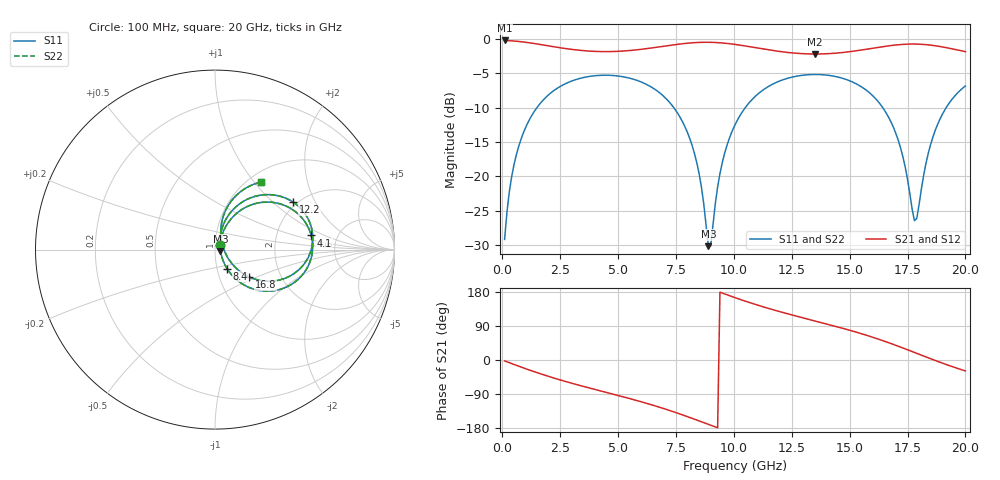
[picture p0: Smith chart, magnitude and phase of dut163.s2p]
! Touchstone file exported from HFSS 2026.1.0
!  File:  C:/ffzhzh/LocalFiles/Ansys_Project_Files/temp_train_TSV_RDL_163_1783054034_45820.aedt
!  Generated:  01:00:16 PM Jul  3, 2026
!  Design:  TSV_RDL
!  Project:  temp_train_TSV_RDL_163_1783054034_45820
! Variables:
!  h_bsmrdl = 5.96um
!  h_ox = 20um
!  h_rdl = 5um
!  h_sub = 99.28um
!  h_tmrdl = 5.51um
!  h_tsv = 99.28um
!  h_via = 3um
!  l_bsmrdl = 519.48um
!  l_sub = 6040.52um
!  l_tmrdl = 995.98um
!  m_sub = 200um
!  pitch = 50.21um
!  r_tsv = 14.55um
!  s_tmrdl = 10um
!  w_bsmrdl = 19.48um
!  w_sub = 500um
!  w_tmrdl = 13.24um
!  x_tsv_center1 = 1002.6um
!  x_tsv_center2 = 1541.56um
!  x_tsv_center3 = 2550.78um
!  x_tsv_center4 = 3089.74um
!  x_tsv_center5 = 4098.96um
!  x_tsv_center6 = 4637.92um
# GHz S MA R 50.000000
! Terminal data exported
! Port[1] = TM_RDL1_1_T1
! Port[2] = TM_RDL5_1_T1
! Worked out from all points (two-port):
!   200 points, 100 MHz to 20 GHz, reference 50 ohm
!   highest |S21| = -0.22 dB at 100 MHz (marker M1); lowest = -2.2 dB at 13.5 GHz (marker M2)
!   |S21| within 3 dB of the highest: start of sweep to end of sweep
!   lowest |S11| = -30.2 dB at 8.9 GHz (marker M3), VSWR 1.06, Z = 53.1 - j0.734 ohm
!   |S11| at or under -10 dB: start of sweep to 1.496 GHz; 7.406 GHz to 10.49 GHz (3.088 GHz wide, 34.5 % of centre); 16.43 GHz to 19.17 GHz (2.742 GHz wide, 15.4 % of centre)
!   |S22| runs from -30.2 to -5.2 dB; largest |S21 - S12| = 2e-14
!   S11 on the Smith chart (normalised r, x): 100 MHz: 1.05, +0.05; 4.1 GHz: 3.19, +0.71; 8.4 GHz: 1.12, -0.24; 12.2 GHz: 1.91, +1.36; 16.8 GHz: 1.39, -0.45; 20 GHz: 1.14, +1.08
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0.1  0.03472 42.6  0.9751 -2.4  0.9751 -2.4  0.03472 42.6
! Gamma 0 0 0 0
! Port Impedance 50 0 50 0
0.5  0.1202 65.3  0.966 -11.6  0.966 -11.6  0.1202 65.3
1.1  0.2447 58.4  0.9414 -25.0  0.9414 -25.0  0.2447 58.4
3.5  0.5234 17.6  0.8223 -69.6  0.8223 -69.6  0.5234 17.6
4.1  0.5417 8.4  0.8107 -79.3  0.8107 -79.3  0.5417 8.4
6.8  0.4047 -34.3  0.8769 -124.8  0.8769 -124.8  0.4047 -34.3
7.8  0.2464 -51.3  0.9242 -145.2  0.9242 -145.2  0.2464 -51.4
8.4  0.1255 -57.6  0.9422 -158.4  0.9422 -158.4  0.1255 -57.7
8.9  0.031 -12.9  0.9459 -169.8  0.9459 -169.8  0.03073 -13.1
9  0.03112 27.5  0.9453 -172.0  0.9453 -172.0  0.03084 27.6
9.5  0.1257 71.6  0.935 176.6  0.935 176.6  0.1257 71.8
10.1  0.2465 65.5  0.9101 163.5  0.9101 163.5  0.2464 65.6
12.2  0.5098 31.1  0.8019 124.0  0.8019 124.0  0.5098 31.2
13.4  0.551 13.3  0.7773 104.7  0.7773 104.7  0.5509 13.3
13.5  0.5513 11.8  0.7771 103.1  0.7771 103.1  0.5513 11.9
15.4  0.4602 -16.9  0.8254 71.5  0.8254 71.5  0.4601 -16.8
16.7  0.2659 -37.4  0.8918 45.4  0.8918 45.4  0.2659 -37.2
16.8  0.246 -38.6  0.8962 43.2  0.8962 43.2  0.2461 -38.5
17.3  0.139 -40.9  0.913 31.8  0.913 31.8  0.1391 -40.6
17.8  0.04753 7.4  0.9181 19.9  0.9181 19.9  0.04815 7.6
18.7  0.2165 75.4  0.8923 -1.3  0.8923 -1.3  0.2167 75.2
20  0.4547 55.8  0.8083 -28.8  0.8083 -28.8  0.4548 55.7
